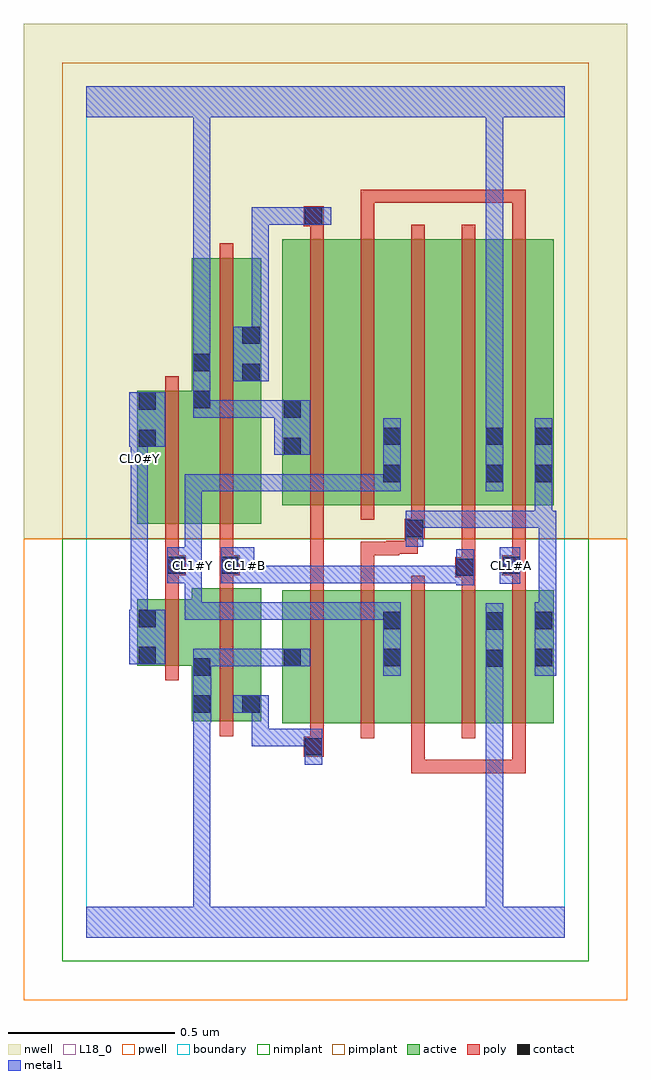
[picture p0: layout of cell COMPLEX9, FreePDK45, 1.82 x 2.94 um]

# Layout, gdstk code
import gdstk
lib = gdstk.Library(unit=1e-6, precision=1e-09)
def R(c, l, rs):  # rectangles x0, y0, x1, y1
    for r in rs: c.add(gdstk.rectangle(r[:2], r[2:], *l))
def A(c, l, x, y, w, h, nx, ny, dx, dy):  # array of equal rectangles
    R(c, l, [(x+i*dx, y+j*dy, x+i*dx+w, y+j*dy+h) for i in range(nx) for j in range(ny)])
active = (1, 0)
pwell = (2, 0)
nwell = (3, 0)
nimplant = (4, 0)
pimplant = (5, 0)
poly = (9, 0)
contact = (10, 0)
metal1 = (11, 0)
L18_0 = (18, 0)
boundary = (235, 0)

complex9 = lib.new_cell('COMPLEX9')
R(complex9, active, [(0.59,0.644,0.77,1.044), (0.77,0.644,0.95,1.044), (0.89,0.644,1.074,1.044), (1.074,0.644,1.258,1.044), (1.198,0.644,1.406,1.044), (0.318,0.65,0.526,1.05), (0.466,0.65,0.526,1.05), (0.318,0.672,0.378,0.902), (0.59,0.756,0.65,1.044), (0.89,0.756,0.95,0.984), (1.198,0.756,1.258,0.982), (1.346,0.756,1.406,1.044), (0.154,0.818,0.378,1.018), (0.154,0.818,0.214,1.018), (0.154,1.244,0.214,1.644), (0.154,1.244,0.378,1.644), (0.318,1.244,0.526,2.044), (0.466,1.244,0.526,2.044), (0.59,1.3,0.65,2.044), (0.59,1.3,0.77,2.1), (0.77,1.3,0.95,2.1), (0.89,1.3,0.95,2.044), (0.89,1.3,1.074,2.1), (1.074,1.3,1.258,2.1), (1.198,1.3,1.406,2.1), (1.346,1.3,1.406,2.044), (0.318,1.366,0.378,2.044), (1.198,1.366,1.258,2.044)])
R(complex9, pwell, [(-0.188,-0.188,1.628,1.2)])
R(complex9, nwell, [(-0.188,1.2,1.628,2.748)])
R(complex9, nimplant, [(-0.072,-0.072,1.512,1.2)])
R(complex9, pimplant, [(-0.072,1.2,1.512,2.632)])
A(complex9, poly, 0.674, 0.6, 0.04, 0.488, 5, 1, 0.152, 0)
A(complex9, poly, 0.674, 1.256, 0.04, 0.888, 5, 1, 0.152, 0)
R(complex9, poly, [(0.978,0.494,1.018,0.64), (0.978,0.494,1.018,0.534), (0.978,0.494,1.048,0.534), (1.008,0.494,1.048,0.534), (1.008,0.494,1.184,0.534), (1.144,0.494,1.184,0.534), (1.144,0.494,1.322,0.534), (1.282,0.494,1.322,0.64), (1.282,0.494,1.322,0.534), (1.282,0.494,1.322,0.534), (1.282,0.494,1.322,0.534), (0.654,0.544,0.714,0.604), (0.674,0.564,0.714,0.64), (0.402,0.606,0.442,1.094), (0.238,0.774,0.278,1.062), (0.238,1.022,0.278,1.13), (0.674,1.048,0.714,1.244), (0.826,1.048,0.866,1.19), (1.13,1.048,1.17,1.124), (1.282,1.048,1.322,1.13), (0.402,1.054,0.442,1.13), (1.11,1.084,1.17,1.144), (0.238,1.09,0.3,1.15), (0.402,1.09,0.462,1.15), (1.25,1.09,1.322,1.15), (1.13,1.104,1.17,1.144), (1.13,1.104,1.17,1.144), (1.13,1.104,1.17,1.296), (0.238,1.11,0.278,1.15), (0.238,1.11,0.278,1.15), (0.238,1.11,0.278,1.24), (0.402,1.11,0.442,1.15), (0.402,1.11,0.442,1.15), (0.402,1.11,0.442,1.24), (1.282,1.11,1.322,1.15), (1.282,1.11,1.322,1.15), (1.282,1.11,1.322,1.296), (0.826,1.15,0.866,1.19), (0.826,1.15,0.942,1.19), (0.902,1.15,0.942,1.194), (0.902,1.154,0.998,1.194), (0.958,1.154,0.998,1.194), (0.958,1.154,0.998,1.24), (0.238,1.2,0.278,1.688), (0.402,1.2,0.442,2.088), (0.958,1.2,1.018,1.26), (0.674,1.204,0.714,1.244), (0.674,1.204,0.714,1.244), (0.674,1.204,0.714,1.244), (0.674,1.204,0.714,1.296), (0.978,1.22,1.018,1.296), (0.674,2.104,0.714,2.18), (0.826,2.104,0.866,2.25), (1.282,2.104,1.322,2.25), (0.654,2.14,0.714,2.2), (0.826,2.21,0.866,2.25), (0.826,2.21,0.866,2.25), (0.826,2.21,0.866,2.25), (0.826,2.21,1.044,2.25), (1.004,2.21,1.044,2.25), (1.004,2.21,1.098,2.25), (1.058,2.21,1.098,2.25), (1.058,2.21,1.184,2.25), (1.144,2.21,1.184,2.25), (1.144,2.21,1.322,2.25), (1.282,2.21,1.322,2.25), (1.282,2.21,1.322,2.25), (1.282,2.21,1.322,2.25)])
R(complex9, contact, [(0.658,0.548,0.71,0.6), (0.322,0.676,0.374,0.728), (0.47,0.676,0.522,0.728), (0.322,0.788,0.374,0.84), (1.202,0.814,1.254,0.866), (0.594,0.816,0.646,0.868), (0.894,0.816,0.946,0.868), (1.35,0.816,1.402,0.868), (0.158,0.822,0.21,0.874), (1.202,0.926,1.254,0.978), (0.894,0.928,0.946,0.98), (1.35,0.928,1.402,0.98), (0.158,0.934,0.21,0.986), (1.114,1.088,1.166,1.14), (0.244,1.094,0.296,1.146), (0.406,1.094,0.458,1.146), (1.254,1.094,1.306,1.146), (0.962,1.204,1.014,1.256), (0.894,1.37,0.946,1.422), (1.202,1.37,1.254,1.422), (1.35,1.37,1.402,1.422), (0.594,1.452,0.646,1.504), (0.158,1.476,0.21,1.528), (0.894,1.482,0.946,1.534), (1.202,1.482,1.254,1.534), (1.35,1.482,1.402,1.534), (0.594,1.564,0.646,1.616), (0.158,1.588,0.21,1.64), (0.322,1.592,0.374,1.644), (0.47,1.674,0.522,1.726), (0.322,1.704,0.374,1.756), (0.47,1.786,0.522,1.838), (0.658,2.144,0.71,2.196)])
R(complex9, metal1, [(0,0,1.44,0.092), (0.322,0.04,0.374,0.092), (0.322,0.04,0.374,0.092), (0.322,0.04,0.374,0.092), (0.322,0.04,0.374,0.092), (0.322,0.04,0.374,0.092), (0.322,0.04,0.374,0.092), (0.322,0.04,0.374,0.092), (0.322,0.04,0.374,0.092), (0.322,0.04,0.374,0.092), (0.322,0.04,0.374,0.092), (0.322,0.04,0.374,0.092), (0.322,0.04,0.374,0.092), (0.322,0.04,0.374,0.7), (1.202,0.04,1.254,0.092), (1.202,0.04,1.254,0.092), (1.202,0.04,1.254,0.092), (1.202,0.04,1.254,0.092), (1.202,0.04,1.254,0.092), (1.202,0.04,1.254,0.092), (1.202,0.04,1.254,0.092), (1.202,0.04,1.254,0.092), (1.202,0.04,1.254,0.092), (1.202,0.04,1.254,0.092), (1.202,0.04,1.254,0.092), (1.202,0.04,1.254,0.092), (1.202,0.04,1.254,0.838), (0.658,0.52,0.71,0.628), (0.498,0.576,0.55,0.628), (0.498,0.576,0.618,0.628), (0.498,0.576,0.55,0.728), (0.566,0.576,0.618,0.628), (0.566,0.576,0.71,0.628), (0.322,0.648,0.376,0.868), (0.442,0.676,0.55,0.728), (1.202,0.786,1.254,1.006), (0.894,0.788,0.946,1.008), (1.35,0.788,1.414,1.008), (0.324,0.816,0.376,0.868), (0.324,0.816,0.376,0.868), (0.324,0.816,0.508,0.868), (0.456,0.816,0.508,0.868), (0.456,0.816,0.508,0.868), (0.456,0.816,0.508,0.868), (0.456,0.816,0.618,0.868), (0.566,0.816,0.674,0.868), (0.13,0.822,0.238,0.986), (0.134,0.934,0.186,1.438), (0.296,0.956,0.348,1.008), (0.296,0.956,0.508,1.008), (0.296,0.956,0.348,1.174), (0.456,0.956,0.508,1.008), (0.456,0.956,0.508,1.008), (0.456,0.956,0.508,1.008), (0.456,0.956,0.66,1.008), (0.608,0.956,0.66,1.008), (0.608,0.956,0.66,1.008), (0.608,0.956,0.66,1.008), (0.608,0.956,0.794,1.008), (0.742,0.956,0.794,1.008), (0.742,0.956,0.794,1.008), (0.742,0.956,0.794,1.008), (0.742,0.956,0.946,1.008), (1.362,0.956,1.414,1.284), (1.362,0.956,1.414,1.008), (1.362,0.956,1.414,1.008), (1.114,1.06,1.166,1.168), (1.244,1.064,1.306,1.174), (0.244,1.066,0.346,1.174), (0.406,1.066,0.506,1.174), (0.454,1.066,0.506,1.118), (0.454,1.066,0.506,1.118), (0.454,1.066,0.66,1.118), (0.608,1.066,0.66,1.118), (0.608,1.066,0.66,1.118), (0.608,1.066,0.66,1.118), (0.608,1.066,0.794,1.118), (0.742,1.066,0.794,1.118), (0.742,1.066,0.794,1.118), (0.742,1.066,0.794,1.118), (0.742,1.066,0.904,1.118), (0.852,1.066,0.904,1.118), (0.852,1.066,0.904,1.118), (0.852,1.066,0.904,1.118), (0.852,1.066,1.014,1.118), (0.962,1.066,1.014,1.118), (0.962,1.066,1.166,1.118), (0.294,1.122,0.346,1.174), (0.294,1.122,0.348,1.174), (0.296,1.122,0.348,1.174), (0.296,1.122,0.348,1.174), (0.296,1.122,0.348,1.394), (0.962,1.176,1.014,1.284), (0.962,1.232,1.014,1.284), (0.962,1.232,1.014,1.284), (0.962,1.232,1.124,1.284), (1.072,1.232,1.124,1.284), (1.072,1.232,1.124,1.284), (1.072,1.232,1.124,1.284), (1.072,1.232,1.402,1.284), (1.35,1.232,1.402,1.394), (1.35,1.232,1.402,1.284), (1.35,1.232,1.402,1.284), (1.35,1.232,1.414,1.284), (0.296,1.342,0.348,1.394), (0.296,1.342,0.508,1.394), (0.456,1.342,0.508,1.394), (0.456,1.342,0.508,1.394), (0.456,1.342,0.508,1.394), (0.456,1.342,0.66,1.394), (0.608,1.342,0.66,1.394), (0.608,1.342,0.66,1.394), (0.608,1.342,0.66,1.394), (0.608,1.342,0.794,1.394), (0.742,1.342,0.794,1.394), (0.742,1.342,0.794,1.394), (0.742,1.342,0.794,1.394), (0.742,1.342,0.946,1.394), (0.894,1.342,0.946,1.562), (1.202,1.342,1.254,1.562), (1.35,1.342,1.402,1.562), (0.134,1.386,0.186,1.494), (0.134,1.442,0.186,1.494), (0.134,1.442,0.186,1.494), (0.134,1.442,0.186,1.528), (0.566,1.452,0.674,1.616), (0.13,1.476,0.238,1.64), (1.202,1.51,1.254,1.562), (1.202,1.51,1.254,1.562), (1.202,1.51,1.254,1.562), (1.202,1.51,1.254,1.562), (1.202,1.51,1.254,1.562), (1.202,1.51,1.254,1.562), (1.202,1.51,1.254,2.52), (0.322,1.564,0.374,1.784), (0.322,1.564,0.374,1.616), (0.322,1.564,0.374,1.616), (0.322,1.564,0.486,1.616), (0.434,1.564,0.486,1.616), (0.434,1.564,0.486,1.616), (0.434,1.564,0.486,1.616), (0.434,1.564,0.618,1.616), (0.442,1.674,0.55,1.838), (0.322,1.732,0.374,1.784), (0.322,1.732,0.374,1.784), (0.322,1.732,0.374,1.784), (0.322,1.732,0.374,1.784), (0.322,1.732,0.374,2.52), (0.498,1.786,0.55,2.196), (0.498,2.144,0.55,2.196), (0.498,2.144,0.682,2.196), (0.63,2.144,0.682,2.196), (0.63,2.144,0.682,2.196), (0.63,2.144,0.738,2.196), (0,2.468,1.44,2.56), (0.322,2.468,0.374,2.52), (0.322,2.468,0.374,2.52), (0.322,2.468,0.374,2.52), (0.322,2.468,0.374,2.52), (1.202,2.468,1.254,2.52), (1.202,2.468,1.254,2.52)])
R(complex9, L18_0, [(0,0,1.44,0.092), (0.322,0.04,0.374,0.092), (0.322,0.04,0.374,0.092), (0.322,0.04,0.374,0.092), (0.322,0.04,0.374,0.092), (0.322,0.04,0.374,0.092), (0.322,0.04,0.374,0.092), (0.322,0.04,0.374,0.092), (0.322,0.04,0.374,0.092), (0.322,0.04,0.374,0.092), (0.322,0.04,0.374,0.092), (0.322,0.04,0.374,0.092), (0.322,0.04,0.374,0.092), (0.322,0.04,0.374,0.7), (1.202,0.04,1.254,0.092), (1.202,0.04,1.254,0.092), (1.202,0.04,1.254,0.092), (1.202,0.04,1.254,0.092), (1.202,0.04,1.254,0.092), (1.202,0.04,1.254,0.092), (1.202,0.04,1.254,0.092), (1.202,0.04,1.254,0.092), (1.202,0.04,1.254,0.092), (1.202,0.04,1.254,0.092), (1.202,0.04,1.254,0.092), (1.202,0.04,1.254,0.092), (1.202,0.04,1.254,0.838), (0.322,0.648,0.376,0.868), (1.202,0.786,1.254,1.006), (0.894,0.788,0.946,1.008), (0.324,0.816,0.376,0.868), (0.324,0.816,0.376,0.868), (0.324,0.816,0.508,0.868), (0.456,0.816,0.508,0.868), (0.456,0.816,0.508,0.868), (0.456,0.816,0.508,0.868), (0.456,0.816,0.618,0.868), (0.566,0.816,0.674,0.868), (0.13,0.822,0.238,0.986), (0.134,0.934,0.186,1.438), (0.296,0.956,0.348,1.008), (0.296,0.956,0.348,1.174), (0.296,0.956,0.508,1.008), (0.456,0.956,0.508,1.008), (0.456,0.956,0.508,1.008), (0.456,0.956,0.508,1.008), (0.456,0.956,0.66,1.008), (0.608,0.956,0.66,1.008), (0.608,0.956,0.66,1.008), (0.608,0.956,0.66,1.008), (0.608,0.956,0.794,1.008), (0.742,0.956,0.794,1.008), (0.742,0.956,0.794,1.008), (0.742,0.956,0.794,1.008), (0.742,0.956,0.946,1.008), (1.114,1.06,1.166,1.168), (1.244,1.064,1.306,1.174), (0.244,1.066,0.346,1.174), (0.406,1.066,0.506,1.174), (0.454,1.066,0.506,1.118), (0.454,1.066,0.506,1.118), (0.454,1.066,0.66,1.118), (0.608,1.066,0.66,1.118), (0.608,1.066,0.66,1.118), (0.608,1.066,0.66,1.118), (0.608,1.066,0.794,1.118), (0.742,1.066,0.794,1.118), (0.742,1.066,0.794,1.118), (0.742,1.066,0.794,1.118), (0.742,1.066,0.904,1.118), (0.852,1.066,0.904,1.118), (0.852,1.066,0.904,1.118), (0.852,1.066,0.904,1.118), (0.852,1.066,1.014,1.118), (0.962,1.066,1.014,1.118), (0.962,1.066,1.166,1.118), (0.294,1.094,0.346,1.146), (0.454,1.094,0.506,1.146), (1.254,1.094,1.306,1.146), (0.294,1.122,0.346,1.174), (0.294,1.122,0.348,1.174), (0.296,1.122,0.348,1.174), (0.296,1.122,0.348,1.174), (0.296,1.122,0.348,1.394), (0.296,1.342,0.348,1.394), (0.296,1.342,0.508,1.394), (0.456,1.342,0.508,1.394), (0.456,1.342,0.508,1.394), (0.456,1.342,0.508,1.394), (0.456,1.342,0.66,1.394), (0.608,1.342,0.66,1.394), (0.608,1.342,0.66,1.394), (0.608,1.342,0.66,1.394), (0.608,1.342,0.794,1.394), (0.742,1.342,0.794,1.394), (0.742,1.342,0.794,1.394), (0.742,1.342,0.794,1.394), (0.742,1.342,0.946,1.394), (0.894,1.342,0.946,1.562), (1.202,1.342,1.254,1.562), (0.134,1.386,0.186,1.494), (0.134,1.414,0.186,1.466), (0.134,1.442,0.186,1.494), (0.134,1.442,0.186,1.494), (0.134,1.442,0.186,1.528), (0.566,1.452,0.674,1.616), (0.13,1.476,0.238,1.64), (1.202,1.51,1.254,1.562), (1.202,1.51,1.254,1.562), (1.202,1.51,1.254,1.562), (1.202,1.51,1.254,1.562), (1.202,1.51,1.254,1.562), (1.202,1.51,1.254,1.562), (1.202,1.51,1.254,2.52), (0.322,1.564,0.374,1.616), (0.322,1.564,0.374,1.616), (0.322,1.564,0.374,1.784), (0.322,1.564,0.486,1.616), (0.434,1.564,0.486,1.616), (0.434,1.564,0.486,1.616), (0.434,1.564,0.486,1.616), (0.434,1.564,0.618,1.616), (0.322,1.732,0.374,1.784), (0.322,1.732,0.374,1.784), (0.322,1.732,0.374,1.784), (0.322,1.732,0.374,1.784), (0.322,1.732,0.374,2.52), (0,2.468,1.44,2.56), (0.322,2.468,0.374,2.52), (0.322,2.468,0.374,2.52), (0.322,2.468,0.374,2.52), (0.322,2.468,0.374,2.52), (1.202,2.468,1.254,2.52), (1.202,2.468,1.254,2.52)])
R(complex9, boundary, [(0,0,1.44,2.56)])
complex9.add(gdstk.Label('CL0#Y', (0.16,1.44), layer=11, texttype=0))
complex9.add(gdstk.Label('CL1#A', (1.28,1.12), layer=11, texttype=0))
complex9.add(gdstk.Label('CL1#B', (0.48,1.12), layer=11, texttype=0))
complex9.add(gdstk.Label('CL1#Y', (0.32,1.12), layer=11, texttype=0))

lib.write_gds('COMPLEX9.gds')
